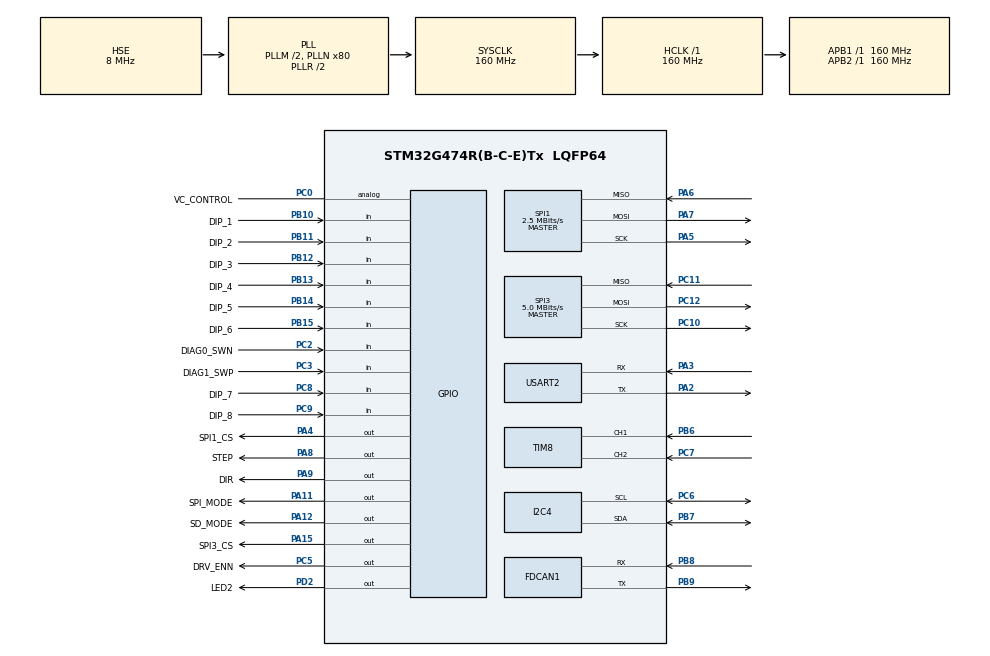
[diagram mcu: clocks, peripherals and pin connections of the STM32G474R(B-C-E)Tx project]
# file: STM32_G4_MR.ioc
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FDCAN1.CalculateBaudRateNominal=1000000
FDCAN1.CalculateTimeBitNominal=1000
FDCAN1.CalculateTimeQuantumNominal=12.5
FDCAN1.ClockDivider=FDCAN_CLOCK_DIV2
FDCAN1.DataSyncJumpWidth=4
FDCAN1.DataTimeSeg1=5
FDCAN1.DataTimeSeg2=4
FDCAN1.FrameFormat=FDCAN_FRAME_FD_BRS
FDCAN1.NominalPrescaler=1
FDCAN1.NominalSyncJumpWidth=24
FDCAN1.NominalTimeSeg1=55
FDCAN1.NominalTimeSeg2=24
FDCAN1.StdFiltersNbr=1
FDCAN1.TransmitPause=ENABLE
FREERTOS.BinarySemaphores01=PublisherSemaphore,Static,PublisherSemaphoreControlBlock
FREERTOS.Tasks01=defaultTask,24,3000,StartDefaultTask,Default,NULL,Dynamic,NULL,NULL;jcPublisher,8,500,StartTask09,Default,NULL,Dynamic,NULL,NULL;jcSubscriber,8,500,StartTask10,Default,NULL,Dynamic,NULL,NULL
FREERTOS.configENABLE_FPU=1
FREERTOS.configMINIMAL_STACK_SIZE=64
FREERTOS.configTOTAL_HEAP_SIZE=26000
FREERTOS.configUSE_NEWLIB_REENTRANT=0
I2C4.Timing=0x30909DEC
IWDG.Prescaler=IWDG_PRESCALER_32
Mcu.Family=STM32G4
Mcu.Name=STM32G474R(B-C-E)Tx
Mcu.Package=LQFP64
NVIC.FDCAN1_IT0_IRQn=true\:5\:0\:false\:false\:true\:true\:true\:true\:true
NVIC.PriorityGroup=NVIC_PRIORITYGROUP_4
NVIC.SPI1_IRQn=true\:5\:0\:false\:false\:true\:true\:true\:true\:true
NVIC.TIM1_UP_TIM16_IRQn=true\:15\:0\:false\:false\:true\:false\:false\:true\:true
NVIC.TimeBase=TIM1_UP_TIM16_IRQn
NVIC.TimeBaseIP=TIM1
NVIC.USART2_IRQn=true\:5\:0\:false\:false\:true\:true\:true\:true\:true
PA11.GPIO_Label=SPI_MODE
PA11.Signal=GPIO_Output
PA12.GPIO_Label=SD_MODE
PA12.Signal=GPIO_Output
PA15.GPIO_Label=SPI3_CS
PA15.Signal=GPIO_Output
PA2.Mode=Asynchronous
PA2.Signal=USART2_TX
PA3.Mode=Asynchronous
PA3.Signal=USART2_RX
PA4.GPIO_Label=SPI1_CS
PA4.Signal=GPIO_Output
PA5.GPIO_PuPd=GPIO_PULLUP
PA5.Mode=Full_Duplex_Master
PA5.Signal=SPI1_SCK
PA6.Mode=Full_Duplex_Master
PA6.Signal=SPI1_MISO
PA7.Mode=Full_Duplex_Master
PA7.Signal=SPI1_MOSI
PA8.GPIO_Label=STEP
PA8.Signal=GPIO_Output
PA9.GPIO_Label=DIR
PA9.Signal=GPIO_Output
PB10.GPIO_Label=DIP_1
PB10.Signal=GPIO_Input
PB11.GPIO_Label=DIP_2
PB11.Signal=GPIO_Input
PB12.GPIO_Label=DIP_3
PB12.Signal=GPIO_Input
PB13.GPIO_Label=DIP_4
PB13.Signal=GPIO_Input
PB14.GPIO_Label=DIP_5
PB14.Signal=GPIO_Input
PB15.GPIO_Label=DIP_6
PB15.Signal=GPIO_Input
PB6.Signal=S_TIM8_CH1
PB7.Mode=I2C
PB7.Signal=I2C4_SDA
PB8-BOOT0.Mode=FDCAN_Activate
PB8-BOOT0.Signal=FDCAN1_RX
PB9.Mode=FDCAN_Activate
PB9.Signal=FDCAN1_TX
PC0.GPIO_Label=VC_CONTROL
PC0.Signal=GPIO_Analog
PC10.GPIO_PuPd=GPIO_PULLUP
PC10.Mode=Full_Duplex_Master
PC10.Signal=SPI3_SCK
PC11.GPIO_PuPd=GPIO_PULLUP
PC11.Mode=Full_Duplex_Master
PC11.Signal=SPI3_MISO
PC12.GPIO_PuPd=GPIO_PULLUP
PC12.Mode=Full_Duplex_Master
PC12.Signal=SPI3_MOSI
PC2.GPIO_Label=DIAG0_SWN
PC2.Signal=GPIO_Input
PC3.GPIO_Label=DIAG1_SWP
PC3.Signal=GPIO_Input
PC5.GPIO_Label=DRV_ENN
PC5.Signal=GPIO_Output
PC6.Mode=I2C
PC6.Signal=I2C4_SCL
PC7.Signal=S_TIM8_CH2
PC8.GPIO_Label=DIP_7
PC8.Signal=GPIO_Input
PC9.GPIO_Label=DIP_8
PC9.Signal=GPIO_Input
PD2.GPIO_Label=LED2
PD2.Signal=GPIO_Output
PF0-OSC_IN.Mode=HSE-External-Oscillator
PF0-OSC_IN.Signal=RCC_OSC_IN
PF1-OSC_OUT.Mode=HSE-External-Oscillator
PF1-OSC_OUT.Signal=RCC_OSC_OUT
ProjectManager.HeapSize=0x200
ProjectManager.StackSize=0x400
ProjectManager.TargetToolchain=Makefile
RCC.ADC12Freq_Value=160000000
RCC.ADC345Freq_Value=160000000
RCC.AHBFreq_Value=160000000
RCC.APB1Freq_Value=160000000
RCC.APB1TimFreq_Value=160000000
RCC.APB2Freq_Value=160000000
RCC.APB2TimFreq_Value=160000000
RCC.CortexFreq_Value=160000000
RCC.EXTERNAL_CLOCK_VALUE=12288000
RCC.EnbaleCSS=true
RCC.HCLKFreq_Value=160000000
RCC.HSE_VALUE=8000000
RCC.HSI48_VALUE=48000000
RCC.HSI_VALUE=16000000
RCC.LSE_VALUE=32768
RCC.PLLM=RCC_PLLM_DIV2
RCC.PLLN=80
RCC.PLLSourceVirtual=RCC_PLLSOURCE_HSE
RCC.SYSCLKFreq_VALUE=160000000
RCC.SYSCLKSource=RCC_SYSCLKSOURCE_PLLCLK
RCC.USBFreq_Value=160000000
RCC.VCOOutputFreq_Value=320000000
SH.S_TIM8_CH1.0=TIM8_CH1,Encoder_Interface
SH.S_TIM8_CH2.0=TIM8_CH2,Encoder_Interface
SPI1.BaudRatePrescaler=SPI_BAUDRATEPRESCALER_64
SPI1.CLKPhase=SPI_PHASE_2EDGE
SPI1.CLKPolarity=SPI_POLARITY_HIGH
SPI1.CalculateBaudRate=2.5 MBits/s
SPI1.DataSize=SPI_DATASIZE_8BIT
SPI1.Direction=SPI_DIRECTION_2LINES
SPI1.Mode=SPI_MODE_MASTER
SPI1.VirtualType=VM_MASTER
SPI3.BaudRatePrescaler=SPI_BAUDRATEPRESCALER_32
SPI3.CLKPhase=SPI_PHASE_2EDGE
SPI3.CalculateBaudRate=5.0 MBits/s
SPI3.DataSize=SPI_DATASIZE_16BIT
SPI3.Direction=SPI_DIRECTION_2LINES
SPI3.Mode=SPI_MODE_MASTER
SPI3.VirtualType=VM_MASTER
USART2.VirtualMode-Asynchronous=VM_ASYNC
VP_FREERTOS_VS_CMSIS_V2.Mode=CMSIS_V2
VP_IWDG_VS_IWDG.Mode=IWDG_Activate
VP_SYS_VS_DBSignals.Mode=DisableDeadBatterySignals
VP_SYS_VS_tim1.Mode=TIM1
board=custom

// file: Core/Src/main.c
/* USER CODE BEGIN Header */
/**
  ******************************************************************************
  * @file           : main.c
  * @brief          : Main program body
  ******************************************************************************
  * @attention
  *
  * Copyright (c) 2023 STMicroelectronics.
  * All rights reserved.
  *
  * This software is licensed under terms that can be found in the LICENSE file
  * in the root directory of this software component.
  * If no LICENSE file comes with this software, it is provided AS-IS.
  *
  ******************************************************************************
  */
/* USER CODE END Header */
#include "main.h"
#include "cmsis_os.h"
#include "fdcan.h"
#include "i2c.h"
#include "iwdg.h"
#include "spi.h"
#include "tim.h"
#include "usart.h"
#include "gpio.h"

/* USER CODE BEGIN Includes */
#include "fdcan_starter.h"
#include "tmc5160.h"
#include "at24_eeprom.h"
#include "joint_config.h"
/* USER CODE END Includes */

void SystemClock_Config(void);
void MX_FREERTOS_Init(void);

/* USER CODE BEGIN 0 */
FDCAN_TxHeaderTypeDef TxHeader;		// Header for can message
FDCAN_FilterTypeDef canfdfilterconfig;	// Filter for receiving CAN messages
FDCAN_RxHeaderTypeDef RxHeader;
joint_config jc;
motor_config motor_cfg;
/* USER CODE END 0 */

int main(void)
{

  /* MCU Configuration--------------------------------------------------------*/

  /* Reset of all peripherals, Initializes the Flash interface and the Systick. */
  HAL_Init();

  /* Configure the system clock */
  SystemClock_Config();

  /* Initialize all configured peripherals */
  MX_GPIO_Init();
  MX_FDCAN1_Init();
  MX_I2C4_Init();
  MX_IWDG_Init();
  MX_SPI1_Init();
  MX_SPI3_Init();
  MX_TIM8_Init();
  MX_USART2_UART_Init();
  /* USER CODE BEGIN 2 */
  //config init
  joint_config_main_part_init(&jc);

  //Quad encoder init
  HAL_TIM_Encoder_Start(&htim8, TIM_CHANNEL_ALL);
  HAL_Delay(10);

  //Initialize CAN
  FDCAN_Filter_Config(&canfdfilterconfig);
  FDCAN_Header_Config(&TxHeader);
  if (HAL_FDCAN_ConfigFilter(&hfdcan1, &canfdfilterconfig) != HAL_OK)
	{
	  Error_Handler();
	}
  FDCAN_Starter(&hfdcan1, &canfdfilterconfig);
  HAL_Delay(10);

  //Initialize Stepper Motor
  tmc5160_init();
  HAL_Delay(10);

  /* USER CODE END 2 */

  /* Init scheduler */
  osKernelInitialize();

  /* Call init function for freertos objects (in freertos.c) */
  MX_FREERTOS_Init();

  /* Start scheduler */
  osKernelStart();

  /* We should never get here as control is now taken by the scheduler */
  /* Infinite loop */
  while (1)
  {

  }
}

void SystemClock_Config(void)
{
  RCC_OscInitTypeDef RCC_OscInitStruct = {0};
  RCC_ClkInitTypeDef RCC_ClkInitStruct = {0};

  /** Configure the main internal regulator output voltage
  */
  HAL_PWREx_ControlVoltageScaling(PWR_REGULATOR_VOLTAGE_SCALE1_BOOST);

  /** Initializes the RCC Oscillators according to the specified parameters
  * in the RCC_OscInitTypeDef structure.
  */
  RCC_OscInitStruct.OscillatorType = RCC_OSCILLATORTYPE_LSI|RCC_OSCILLATORTYPE_HSE;
  RCC_OscInitStruct.HSEState = RCC_HSE_ON;
  RCC_OscInitStruct.LSIState = RCC_LSI_ON;
  RCC_OscInitStruct.PLL.PLLState = RCC_PLL_ON;
  RCC_OscInitStruct.PLL.PLLSource = RCC_PLLSOURCE_HSE;
  RCC_OscInitStruct.PLL.PLLM = RCC_PLLM_DIV2;
  RCC_OscInitStruct.PLL.PLLN = 80;
  RCC_OscInitStruct.PLL.PLLP = RCC_PLLP_DIV2;
  RCC_OscInitStruct.PLL.PLLQ = RCC_PLLQ_DIV2;
  RCC_OscInitStruct.PLL.PLLR = RCC_PLLR_DIV2;
  if (HAL_RCC_OscConfig(&RCC_OscInitStruct) != HAL_OK)
  {
    Error_Handler();
  }

  /** Initializes the CPU, AHB and APB buses clocks
  */
  RCC_ClkInitStruct.ClockType = RCC_CLOCKTYPE_HCLK|RCC_CLOCKTYPE_SYSCLK
                              |RCC_CLOCKTYPE_PCLK1|RCC_CLOCKTYPE_PCLK2;
  RCC_ClkInitStruct.SYSCLKSource = RCC_SYSCLKSOURCE_PLLCLK;
  RCC_ClkInitStruct.AHBCLKDivider = RCC_SYSCLK_DIV1;
  RCC_ClkInitStruct.APB1CLKDivider = RCC_HCLK_DIV1;
  RCC_ClkInitStruct.APB2CLKDivider = RCC_HCLK_DIV1;

  if (HAL_RCC_ClockConfig(&RCC_ClkInitStruct, FLASH_LATENCY_4) != HAL_OK)
  {
    Error_Handler();
  }

  /** Enables the Clock Security System
  */
  HAL_RCC_EnableCSS();
}

void HAL_TIM_PeriodElapsedCallback(TIM_HandleTypeDef *htim)
{
  if (htim->Instance == TIM1) {
    HAL_IncTick();
  }
}

void Error_Handler(void)
{
  __disable_irq();
  while (1)
  {
  }
}

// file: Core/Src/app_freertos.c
/* USER CODE BEGIN Header */
/**
  ******************************************************************************
  * File Name          : app_freertos.c
  * Description        : Code for freertos applications
  ******************************************************************************
  * @attention
  *
  * Copyright (c) 2023 STMicroelectronics.
  * All rights reserved.
  *
  * This software is licensed under terms that can be found in the LICENSE file
  * in the root directory of this software component.
  * If no LICENSE file comes with this software, it is provided AS-IS.
  *
  ******************************************************************************
  */
/* USER CODE END Header */

#include "FreeRTOS.h"
#include "task.h"
#include "main.h"
#include "cmsis_os.h"

/* USER CODE BEGIN Includes */
#include <rcl/rcl.h>
#include <rcl/error_handling.h>
#include <rclc/rclc.h>
#include <rclc/executor.h>
#include <uxr/client/transport.h>
#include <rmw_microxrcedds_c/config.h>
#include <rmw_microros/rmw_microros.h>

#include <rmw_microros/rmw_microros.h>

#include <type_utilities.h>

#include <config_service/srv/config_service.h>
#include <command_service/srv/command_service.h>
#include <diag_service/srv/diag_service.h>
#include <std_srvs/srv/empty.h>

#include <std_msgs/msg/int32.h>
#include <std_msgs/msg/string.h>

#include <tmc5160.h>
#include <as50xx.h>
#include <at24_eeprom.h>

#include <joint_config.h>
#include <state_of_joint.h>
#include <joint_diagnostics.h>

#include <math.h>
#include "utility.h"
/* USER CODE END Includes */

typedef StaticSemaphore_t osStaticSemaphoreDef_t;

/* Definitions for defaultTask */
osThreadId_t defaultTaskHandle;
const osThreadAttr_t defaultTask_attributes = {
  .name = "defaultTask",
  .priority = (osPriority_t) osPriorityNormal,
  .stack_size = 3000 * 4
};
/* Definitions for jcPublisher */
osThreadId_t jcPublisherHandle;
const osThreadAttr_t jcPublisher_attributes = {
  .name = "jcPublisher",
  .priority = (osPriority_t) osPriorityLow,
  .stack_size = 500 * 4
};
/* Definitions for jcSubscriber */
osThreadId_t jcSubscriberHandle;
const osThreadAttr_t jcSubscriber_attributes = {
  .name = "jcSubscriber",
  .priority = (osPriority_t) osPriorityLow,
  .stack_size = 500 * 4
};
/* Definitions for PublisherSemaphore */
osSemaphoreId_t PublisherSemaphoreHandle;
osStaticSemaphoreDef_t PublisherSemaphoreControlBlock;
const osSemaphoreAttr_t PublisherSemaphore_attributes = {
  .name = "PublisherSemaphore",
  .cb_mem = &PublisherSemaphoreControlBlock,
  .cb_size = sizeof(PublisherSemaphoreControlBlock),
};

/* USER CODE BEGIN FunctionPrototypes */
void config_init();
void jc_sub_cb(const void * msg_input);
double steps_to_rads(int32_t steps);
int32_t rad_to_steps(double rads);

void config_service_callback(const void * request_msg, void * response_msg);
void command_service_callback(const void * request_msg, void * response_msg);
void diag_service_callback(const void * request_msg, void * response_msg);

bool cubemx_transport_open(struct uxrCustomTransport * transport);
bool cubemx_transport_close(struct uxrCustomTransport * transport);
size_t cubemx_transport_write(struct uxrCustomTransport* transport, const uint8_t * buf, size_t len, uint8_t * err);
size_t cubemx_transport_read(struct uxrCustomTransport* transport, uint8_t* buf, size_t len, int timeout, uint8_t* err);

void * microros_allocate(size_t size, void * state);
void microros_deallocate(void * pointer, void * state);
void * microros_reallocate(void * pointer, size_t size, void * state);
void * microros_zero_allocate(size_t number_of_elements, size_t size_of_element, void * state);

rcl_publisher_t jc_publisher;
rcl_subscription_t jc_subscriber;
rclc_executor_t jc_executor;
rclc_support_t support;
rcl_allocator_t allocator;
//rcl_allocator_t new_allocator; //with custom memory allocators
rcl_node_t node;
rcl_init_options_t init_options;
rcl_ret_t rc;

std_msgs__msg__String msg;
std_msgs__msg__Int32 msg_out, msg_in;

extern uint32_t read_fault; //soft WD
extern IWDG_HandleTypeDef hiwdg; //hard WD

extern FDCAN_HandleTypeDef hfdcan1;
extern TIM_HandleTypeDef htim8;

/* USER CODE END FunctionPrototypes */

void StartDefaultTask(void *argument);
void StartTask09(void *argument);
void StartTask10(void *argument);

void MX_FREERTOS_Init(void); /* (MISRA C 2004 rule 8.1) */

void MX_FREERTOS_Init(void) {

  /* Create the semaphores(s) */
  /* creation of PublisherSemaphore */
  PublisherSemaphoreHandle = osSemaphoreNew(1, 0, &PublisherSemaphore_attributes);

  /* Create the thread(s) */
  /* creation of defaultTask */
  defaultTaskHandle = osThreadNew(StartDefaultTask, NULL, &defaultTask_attributes);

  /* creation of jcPublisher */
  jcPublisherHandle = osThreadNew(StartTask09, NULL, &jcPublisher_attributes);

  /* creation of jcSubscriber */
  jcSubscriberHandle = osThreadNew(StartTask10, NULL, &jcSubscriber_attributes);

}

void StartDefaultTask(void *argument)
{
  /* USER CODE BEGIN StartDefaultTask */

		//RCL init

		rmw_uros_set_custom_transport(
						true,
						(void *) &hfdcan1,
						cubemx_transport_open,
						cubemx_transport_close,
						cubemx_transport_write,
						cubemx_transport_read);

		rcl_allocator_t freeRTOS_allocator = rcutils_get_zero_initialized_allocator();
		freeRTOS_allocator.allocate = microros_allocate;
		freeRTOS_allocator.deallocate = microros_deallocate;
		freeRTOS_allocator.reallocate = microros_reallocate;
		freeRTOS_allocator.zero_allocate =  microros_zero_allocate;

		rcutils_set_default_allocator(&freeRTOS_allocator);

		allocator = rcl_get_default_allocator();
		init_options = rcl_get_zero_initialized_init_options();

		rcl_init_options_set_domain_id(&init_options, 0); //setting the domain ID

		rcl_init_options_init(&init_options, allocator);

		rmw_init_options_t* rmw_options = rcl_init_options_get_rmw_init_options(&init_options);

		uint32_t client_key;
		client_key = 10 + JOINTN;
		rmw_uros_options_set_client_key(client_key, rmw_options);

		rclc_support_init_with_options(&support, 0, NULL, &init_options, &allocator);

		//Control part
		char node_name[12];
		sprintf(node_name,"sonic_node_%d", JOINTN);

		rclc_node_init_default(&node, node_name, "", &support);

		char topic_pub_name[18];
		sprintf(topic_pub_name,"sonic_pub_%d", JOINTN);

		rclc_publisher_init_default(
			&jc_publisher,
			&node,
			ROSIDL_GET_MSG_TYPE_SUPPORT(std_msgs, msg, Int32),
			topic_pub_name);

/*
		char topic_sub_name[18];
		sprintf(topic_sub_name,"joint_state_sub_%d", jc.joint_number);

		rc = rclc_subscription_init_default(
			&jc_subscriber, &node,
			ROSIDL_GET_MSG_TYPE_SUPPORT(sensor_msgs, msg, JointState),
			topic_sub_name);

		jc_executor = rclc_executor_get_zero_initialized_executor();
		rc = rclc_executor_init(&jc_executor, &support.context, 1, &allocator);

		rc = rclc_executor_add_subscription(
			&jc_executor, &jc_subscriber, &js_in,
			&jc_sub_cb, ON_NEW_DATA);
*/

		//ALERT regulator
	for(;;)
	{
	if (read_fault < 25)
	{
	HAL_IWDG_Refresh(&hiwdg);
	}

	//some things to add

	vTaskDelay(100);
	}

  /* USER CODE END StartDefaultTask */
}

void StartTask09(void *argument)
{
  /* USER CODE BEGIN StartTask09 */
	//jcPublisher
	int32_t i = 0;
  /* Infinite loop */
  for(;;)
  {

	msg_out.data = i;
	//osSemaphoreAcquire(PublisherSemaphoreHandle, 0);
	rcl_publish(&jc_publisher, &msg_out, NULL);
	//osSemaphoreRelease(PublisherSemaphoreHandle);
	i++;
    osDelay(1);
  }
  /* USER CODE END StartTask09 */
}

void StartTask10(void *argument)
{
  /* USER CODE BEGIN StartTask10 */
	//jcSubscriber
  /* Infinite loop */
  for(;;)
  {
	//rclc_executor_spin_some(&jc_executor, 1);
    osDelay(10000);
  }
  /* USER CODE END StartTask10 */
}

/* USER CODE BEGIN Application */
void jc_sub_cb(const void * msg_input)
{
	// Cast messages to expected types
	//const sensor_msgs__msg__JointState * js_in = (const sensor_msgs__msg__JointState *)msg_input;

}

/* USER CODE END Application */
